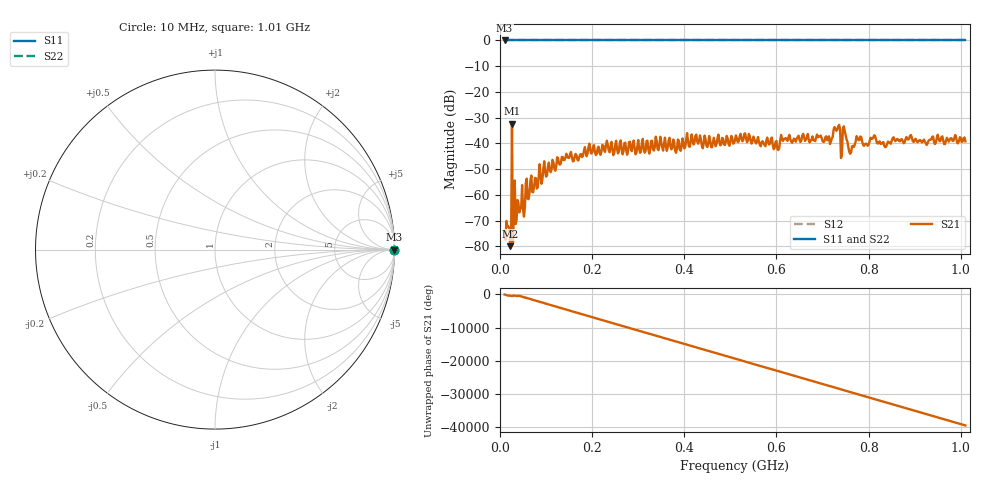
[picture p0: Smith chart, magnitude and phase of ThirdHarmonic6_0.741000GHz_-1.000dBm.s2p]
! 8/16/2025 12:48:25 AM
! C:\ANRITSUVNA\TEMP\TEMP.S2P
! CHANNEL.1
! TR.MEASUREMENT
! RAW.DATA
! RF.CORRECTION.OFF
! AVERAGING.OFF
! IF.BANDWIDTH: 5KHZ
! SWEEPTYPE:  FREQ.SWEEP(Linear)
! Reference Plane Port Info
! PORT:  PORT1  PORT2
! DISTANCE:  0  m  0  m
! TIME:  0  s  0  s
! PHASE.OFFSET:  0  deg.  0  deg.
! LOSS:  0  dB  0  dB
! REF.LOSS:  0  dB  0  dB
! REF.FREQ:  0  Hz  0  Hz
! Power Info
! POWER:  -20  dBm  -20  dBm
! EFF.POWER:  -20  dBm  -20  dBm
! SOURCE.ATTEN:  0  dB  0  dB
! TEST.ATTEN:  0  dB  0  dB
# GHZ S RI R 50.0
! FREQ.GHZ  S11RE  S11IM  S21RE  S21IM  S12RE  S12IM  S22RE  S22IM
!; PortSelection: Port_12
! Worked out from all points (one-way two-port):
!   501 points, 10 MHz to 1.01 GHz, reference 50 ohm
!   highest |S21| = -32.27 dB at 26 MHz (marker M1); lowest = -79.9 dB at 22 MHz (marker M2)
!   lowest |S11| = 0.0 dB at 10 MHz (marker M3)
!   |S11| at or under -10 dB: nowhere
!   |S22| runs from 0.0 to 0.0 dB; largest |S21 - S12| = 1
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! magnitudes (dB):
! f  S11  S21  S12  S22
! 10 MHz  0.0  -74.0  0.0  0.0
! 20 MHz  0.0  -72.8  0.0  0.0
! 22 MHz  0.0  -79.9  0.0  0.0
! 26 MHz  0.0  -32.3  0.0  0.0
! 30 MHz  0.0  -68.4  0.0  0.0
! 32 MHz  0.0  -54.4  0.0  0.0
! 36 MHz  0.0  -69.7  0.0  0.0
! 50 MHz  0.0  -65.7  0.0  0.0
! 60 MHz  0.0  -61.5  0.0  0.0
! 98 MHz  0.0  -50.9  0.0  0.0
! 178 MHz  0.0  -45.3  0.0  0.0
! 344 MHz  0.0  -42.6  0.0  0.0
! 510 MHz  0.0  -38.7  0.0  0.0
! 678 MHz  0.0  -37.2  0.0  0.0
! 718 MHz  0.0  -39.4  0.0  0.0
! 734 MHz  0.0  -33.3  0.0  0.0
! 740 MHz  0.0  -45.7  0.0  0.0
! 748 MHz  0.0  -35.1  0.0  0.0
! 760 MHz  0.0  -44.0  0.0  0.0
! 778 MHz  0.0  -38.7  0.0  0.0
! 844 MHz  0.0  -39.5  0.0  0.0
! 1.01 GHz  0.0  -39.2  0.0  0.0
